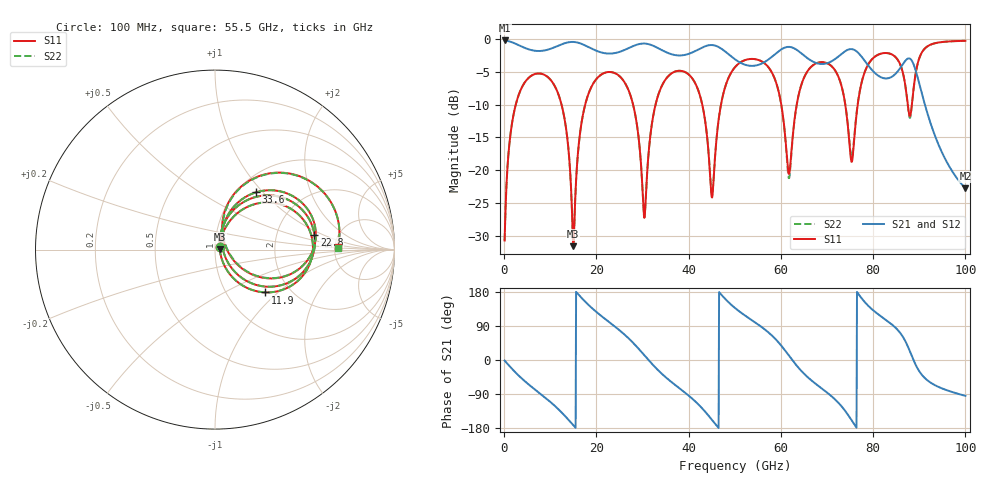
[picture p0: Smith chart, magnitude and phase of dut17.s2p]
! Touchstone file exported from HFSS 2026.1.0
!  File:  C:/ffzhzh/LocalFiles/Ansys_Project_Files/temp_train_TSV_RDL_17_1783438299_50928.aedt
!  Generated:  11:45:04 PM Jul  7, 2026
!  Design:  TSV_RDL
!  Project:  temp_train_TSV_RDL_17_1783438299_50928
! Variables:
!  h_bsmrdl = 3.74um
!  h_ox = 20um
!  h_rdl = 5um
!  h_sub = 93.25um
!  h_tmrdl = 3.08um
!  h_tsv = 93.25um
!  h_via = 3um
!  l_bsmrdl = 388.34um
!  l_sub = 3542.35um
!  l_tmrdl = 474.09um
!  m_sub = 200um
!  pitch = 43.89um
!  r_tsv = 9.83um
!  s_tmrdl = 10um
!  w_bsmrdl = 12.98um
!  w_sub = 500um
!  w_tmrdl = 14.01um
!  x_tsv_center1 = 481.095um
!  x_tsv_center2 = 882.415um
!  x_tsv_center3 = 1370.515um
!  x_tsv_center4 = 1771.835um
!  x_tsv_center5 = 2259.935um
!  x_tsv_center6 = 2661.255um
# GHz S MA R 50.000000
! Terminal data exported
! Port[1] = TM_RDL1_1_T1
! Port[2] = TM_RDL5_1_T1
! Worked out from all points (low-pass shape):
!   1000 points, 100 MHz to 100 GHz, reference 50 ohm
!   highest |S21| = -0.22 dB at 100 MHz (marker M1); lowest = -22.8 dB at 100 GHz (marker M2)
!   |S21| within 3 dB of the highest: start of sweep to 50.3 GHz; 57.11 GHz to 66.38 GHz (9.271 GHz wide, 15 % of centre) (the widest 2 of 4)
!   lowest |S11| = -31.6 dB at 15 GHz (marker M3), VSWR 1.05, Z = 52.7 + j0.159 ohm
!   |S11| at or under -10 dB: 12.44 GHz to 17.57 GHz (5.134 GHz wide, 34.2 % of centre); 27.95 GHz to 32.83 GHz (4.875 GHz wide, 16 % of centre); 42.95 GHz to 47.01 GHz (4.068 GHz wide, 9.04 % of centre) (the widest 3 of 7)
!   |S22| runs from -31.6 to -0.3 dB; largest |S21 - S12| = 4.3e-13
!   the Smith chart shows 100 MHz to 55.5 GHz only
!   S11 on the Smith chart (normalised r, x): 100 MHz: 1.05, +0.03; 11.9 GHz: 1.50, -0.83; 22.8 GHz: 3.33, +0.82; 33.6 GHz: 1.21, +0.91; 55.5 GHz: 5.31, +0.28
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0.1  0.029 29.2  0.975 -1.4  0.975 -1.4  0.029 29.2
! Gamma 0 0 0 0
! Port Impedance 50 0 50 0
3.6  0.4103 39.7  0.8826 -46.3  0.8826 -46.3  0.4103 39.7
11.9  0.3666 -40.6  0.8941 -131.6  0.8941 -131.6  0.3665 -40.5
15  0.02627 3.3  0.9497 -172.1  0.9497 -172.1  0.02638 3.4
16.8  0.2325 66.0  0.9177 163.7  0.9177 163.7  0.2325 66.0
22.8  0.5605 8.6  0.7742 99.7  0.7742 99.7  0.5605 8.6
27.7  0.3415 -37.0  0.8749 48.6  0.8749 48.6  0.3415 -36.9
30.4  0.0432 11.1  0.9235 12.5  0.9235 12.5  0.0435 11.2
33.4  0.3735 56.5  0.8508 -27.2  0.8508 -27.2  0.3736 56.5
33.6  0.3915 54.5  0.8436 -29.6  0.8436 -29.6  0.3917 54.5
41.2  0.475 -13.8  0.802 -106.6  0.802 -106.6  0.4753 -13.6
45.1  0.06179 25.5  0.8991 -158.6  0.8991 -158.6  0.06454 25.2
50.1  0.6125 42.8  0.6981 136.7  0.6981 136.7  0.6127 42.5
55.5  0.684 1.2  0.6418 89.9  0.6418 89.9  0.6839 0.9
61.7  0.0935 6.2  0.8711 12.3  0.8711 12.3  0.08681 5.7
66.7  0.6204 31.2  0.6795 -54.7  0.6795 -54.7  0.6199 31.8
72.8  0.4798 -19.2  0.752 -117.3  0.752 -117.3  0.4807 -18.3
75.8  0.1561 53.3  0.8296 -167.6  0.8296 -167.6  0.1635 51.2
83.4  0.7772 11.4  0.5035 100.1  0.5035 100.1  0.7772 11.0
88.3  0.2945 37.0  0.6906 13.0  0.6906 13.0  0.287 37.7
90.4  0.7713 36.5  0.4041 -36.7  0.4041 -36.7  0.7699 36.8
100  0.9685 -8.1  0.07255 -94.7  0.07255 -94.7  0.9684 -8.1
